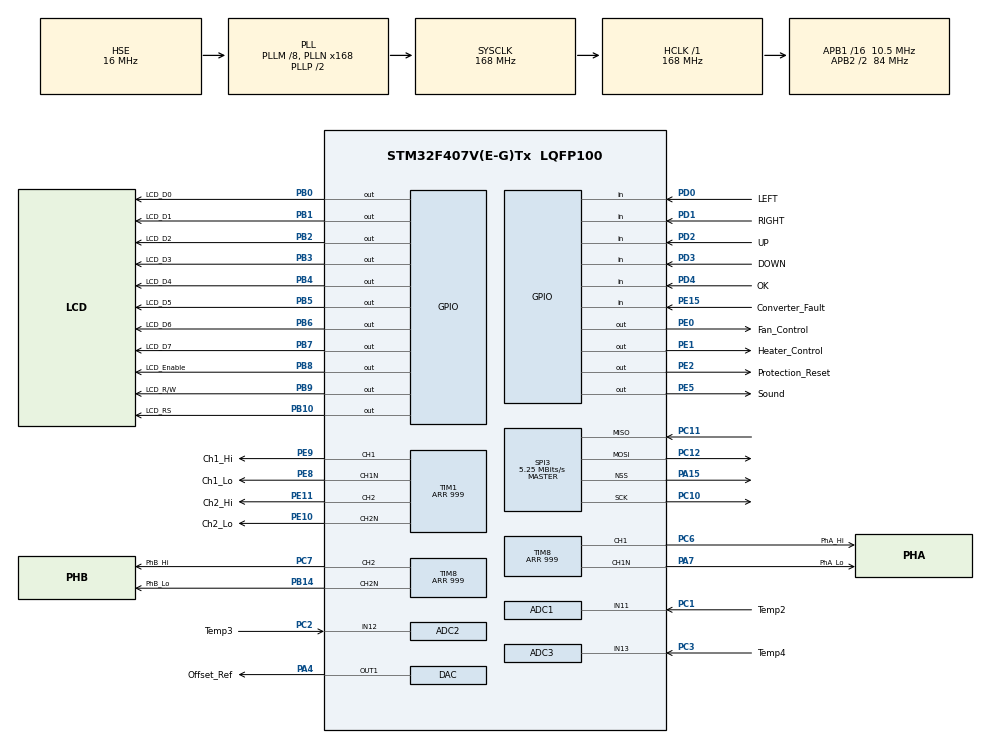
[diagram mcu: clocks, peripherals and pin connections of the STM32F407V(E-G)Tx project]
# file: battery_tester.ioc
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ADC1.Channel-0\#ChannelRegularConversion=ADC_CHANNEL_11
ADC1.ClockPrescaler=ADC_CLOCK_SYNC_PCLK_DIV4
ADC1.ContinuousConvMode=DISABLE
ADC1.DMAContinuousRequests=DISABLE
ADC1.EOCSelection=ADC_EOC_SINGLE_CONV
ADC1.ExternalTrigConv=ADC_EXTERNALTRIGCONV_T2_TRGO
ADC1.Mode=__NULL
ADC1.NbrOfConversion=1
ADC1.NbrOfConversionFlag=1
ADC1.Rank-0\#ChannelRegularConversion=1
ADC1.SamplingTime-0\#ChannelRegularConversion=ADC_SAMPLETIME_28CYCLES
ADC1.ScanConvMode=DISABLE
ADC1.master=1
ADC2.Channel-1\#ChannelRegularConversion=ADC_CHANNEL_12
ADC2.ClockPrescaler=ADC_CLOCK_SYNC_PCLK_DIV4
ADC2.ContinuousConvMode=DISABLE
ADC2.EOCSelection=ADC_EOC_SINGLE_CONV
ADC2.NbrOfConversion=1
ADC2.NbrOfConversionFlag=1
ADC2.Rank-1\#ChannelRegularConversion=1
ADC2.SamplingTime-1\#ChannelRegularConversion=ADC_SAMPLETIME_28CYCLES
ADC2.ScanConvMode=DISABLE
ADC3.Channel-0\#ChannelRegularConversion=ADC_CHANNEL_13
ADC3.ClockPrescaler=ADC_CLOCK_SYNC_PCLK_DIV4
ADC3.ContinuousConvMode=DISABLE
ADC3.EOCSelection=ADC_EOC_SEQ_CONV
ADC3.NbrOfConversion=1
ADC3.NbrOfConversionFlag=1
ADC3.Rank-0\#ChannelRegularConversion=1
ADC3.SamplingTime-0\#ChannelRegularConversion=ADC_SAMPLETIME_28CYCLES
ADC3.ScanConvMode=DISABLE
Dma.Request0=SPI3_RX
Dma.Request1=SPI3_TX
Dma.SPI3_RX.0.Direction=DMA_PERIPH_TO_MEMORY
Dma.SPI3_RX.0.FIFOMode=DMA_FIFOMODE_DISABLE
Dma.SPI3_RX.0.Instance=DMA1_Stream0
Dma.SPI3_RX.0.MemDataAlignment=DMA_MDATAALIGN_BYTE
Dma.SPI3_RX.0.MemInc=DMA_MINC_ENABLE
Dma.SPI3_RX.0.Mode=DMA_NORMAL
Dma.SPI3_RX.0.PeriphDataAlignment=DMA_PDATAALIGN_BYTE
Dma.SPI3_RX.0.PeriphInc=DMA_PINC_DISABLE
Dma.SPI3_RX.0.Priority=DMA_PRIORITY_LOW
Dma.SPI3_TX.1.Direction=DMA_MEMORY_TO_PERIPH
Dma.SPI3_TX.1.FIFOMode=DMA_FIFOMODE_DISABLE
Dma.SPI3_TX.1.Instance=DMA1_Stream5
Dma.SPI3_TX.1.MemDataAlignment=DMA_MDATAALIGN_BYTE
Dma.SPI3_TX.1.MemInc=DMA_MINC_ENABLE
Dma.SPI3_TX.1.Mode=DMA_NORMAL
Dma.SPI3_TX.1.PeriphDataAlignment=DMA_PDATAALIGN_BYTE
Dma.SPI3_TX.1.PeriphInc=DMA_PINC_DISABLE
Dma.SPI3_TX.1.Priority=DMA_PRIORITY_LOW
Mcu.Family=STM32F4
Mcu.Name=STM32F407V(E-G)Tx
Mcu.Package=LQFP100
NVIC.ADC_IRQn=true\:0\:0\:false\:false\:true\:true\:true\:true
NVIC.DMA1_Stream0_IRQn=true\:0\:0\:false\:false\:true\:false\:true\:true
NVIC.DMA1_Stream5_IRQn=true\:0\:0\:false\:false\:true\:false\:true\:true
NVIC.PriorityGroup=NVIC_PRIORITYGROUP_4
NVIC.TIM6_DAC_IRQn=true\:0\:0\:false\:false\:true\:true\:true\:true
PA0-WKUP.Signal=ADCx_IN0
PA1.GPIO_Label=Ch2_Current
PA1.Signal=ADCx_IN1
PA13.GPIO_Label=SWIO
PA13.Mode=Serial_Wire
PA13.Signal=SYS_JTMS-SWDIO
PA14.GPIO_Label=SWCLK
PA14.Mode=Serial_Wire
PA14.Signal=SYS_JTCK-SWCLK
PA15.Mode=NSS_Signal_Hard_Output
PA15.Signal=SPI3_NSS
PA2.GPIO_Label=Ch1_Voltage
PA2.Signal=ADCx_IN2
PA3.GPIO_Label=Ch2_Voltage
PA3.Signal=ADCx_IN3
PA4.GPIO_Label=Offset_Ref
PA4.Signal=COMP_DAC1_group
PA7.GPIO_Label=PhA_Lo
PA7.Mode=PWM Generation1 CH1 CH1N
PA7.Signal=TIM8_CH1N
PB0.GPIO_Label=LCD_D0
PB0.GPIO_PuPd=GPIO_PULLDOWN
PB0.Signal=GPIO_Output
PB1.GPIO_Label=LCD_D1
PB1.GPIO_PuPd=GPIO_PULLDOWN
PB1.Signal=GPIO_Output
PB10.GPIO_Label=LCD_RS
PB10.GPIO_PuPd=GPIO_PULLDOWN
PB10.Signal=GPIO_Output
PB14.GPIO_Label=PhB_Lo
PB14.Mode=PWM Generation2 CH2 CH2N
PB14.Signal=TIM8_CH2N
PB2.GPIO_Label=LCD_D2
PB2.GPIO_PuPd=GPIO_PULLDOWN
PB2.Signal=GPIO_Output
PB3.GPIO_Label=LCD_D3
PB3.GPIO_PuPd=GPIO_PULLDOWN
PB3.Signal=GPIO_Output
PB4.GPIO_Label=LCD_D4
PB4.GPIO_PuPd=GPIO_PULLDOWN
PB4.Signal=GPIO_Output
PB5.GPIO_Label=LCD_D5
PB5.GPIO_PuPd=GPIO_PULLDOWN
PB5.Signal=GPIO_Output
PB6.GPIO_Label=LCD_D6
PB6.GPIO_PuPd=GPIO_PULLDOWN
PB6.Signal=GPIO_Output
PB7.GPIO_Label=LCD_D7
PB7.GPIO_PuPd=GPIO_PULLDOWN
PB7.Signal=GPIO_Output
PB8.GPIO_Label=LCD_Enable
PB8.GPIO_PuPd=GPIO_PULLDOWN
PB8.Signal=GPIO_Output
PB9.GPIO_Label=LCD_R/W
PB9.GPIO_PuPd=GPIO_PULLDOWN
PB9.Signal=GPIO_Output
PC0.GPIO_Label=Temp1
PC0.Signal=ADCx_IN10
PC1.GPIO_Label=Temp2
PC1.Signal=ADCx_IN11
PC10.Mode=Full_Duplex_Master
PC10.Signal=SPI3_SCK
PC11.Mode=Full_Duplex_Master
PC11.Signal=SPI3_MISO
PC12.Mode=Full_Duplex_Master
PC12.Signal=SPI3_MOSI
PC2.GPIO_Label=Temp3
PC2.Signal=ADCx_IN12
PC3.GPIO_Label=Temp4
PC3.Signal=ADCx_IN13
PC4.Signal=ADCx_IN14
PC6.GPIO_Label=PhA_Hi
PC6.Signal=S_TIM8_CH1
PC7.GPIO_Label=PhB_Hi
PC7.Signal=S_TIM8_CH2
PD0.GPIO_Label=LEFT
PD0.GPIO_PuPd=GPIO_PULLUP
PD0.Signal=GPIO_Input
PD1.GPIO_Label=RIGHT
PD1.GPIO_PuPd=GPIO_PULLUP
PD1.Signal=GPIO_Input
PD2.GPIO_Label=UP
PD2.GPIO_PuPd=GPIO_PULLUP
PD2.Signal=GPIO_Input
PD3.GPIO_Label=DOWN
PD3.GPIO_PuPd=GPIO_PULLUP
PD3.Signal=GPIO_Input
PD4.GPIO_Label=OK
PD4.GPIO_PuPd=GPIO_PULLUP
PD4.Signal=GPIO_Input
PE0.GPIO_Label=Fan_Control
PE0.GPIO_PuPd=GPIO_PULLDOWN
PE0.Signal=GPIO_Output
PE1.GPIO_Label=Heater_Control
PE1.GPIO_PuPd=GPIO_PULLDOWN
PE1.Signal=GPIO_Output
PE10.GPIO_Label=Ch2_Lo
PE10.Mode=PWM Generation2 CH2 CH2N
PE10.Signal=TIM1_CH2N
PE11.GPIO_Label=Ch2_Hi
PE11.Signal=S_TIM1_CH2
PE15.GPIO_Label=Converter_Fault
PE15.GPIO_PuPd=GPIO_PULLDOWN
PE15.Signal=GPIO_Input
PE2.GPIO_Label=Protection_Reset
PE2.Signal=GPIO_Output
PE5.GPIO_Label=Sound
PE5.GPIO_PuPd=GPIO_PULLDOWN
PE5.Signal=GPIO_Output
PE8.GPIO_Label=Ch1_Lo
PE8.Mode=PWM Generation1 CH1 CH1N
PE8.Signal=TIM1_CH1N
PE9.GPIO_Label=Ch1_Hi
PE9.Signal=S_TIM1_CH1
PH0-OSC_IN.Mode=HSE-External-Oscillator
PH0-OSC_IN.Signal=RCC_OSC_IN
PH1-OSC_OUT.Mode=HSE-External-Oscillator
PH1-OSC_OUT.Signal=RCC_OSC_OUT
ProjectManager.HeapSize=0x200
ProjectManager.StackSize=0x400
ProjectManager.TargetToolchain=STM32CubeIDE
RCC.48MHZClocksFreq_Value=84000000
RCC.AHBFreq_Value=168000000
RCC.APB1CLKDivider=RCC_HCLK_DIV16
RCC.APB1Freq_Value=10500000
RCC.APB1TimFreq_Value=21000000
RCC.APB2CLKDivider=RCC_HCLK_DIV2
RCC.APB2Freq_Value=84000000
RCC.APB2TimFreq_Value=168000000
RCC.CortexFreq_Value=168000000
RCC.HCLKFreq_Value=168000000
RCC.HSE_VALUE=16000000
RCC.HSI_VALUE=16000000
RCC.LSE_VALUE=32768
RCC.PLLM=8
RCC.PLLN=168
RCC.PLLSourceVirtual=RCC_PLLSOURCE_HSE
RCC.SYSCLKFreq_VALUE=168000000
RCC.SYSCLKSource=RCC_SYSCLKSOURCE_PLLCLK
RCC.VCOOutputFreq_Value=336000000
SH.ADCx_IN0.0=ADC1_IN0
SH.ADCx_IN1.0=ADC2_IN1
SH.ADCx_IN10.0=ADC3_IN10
SH.ADCx_IN11.0=ADC1_IN11,IN11
SH.ADCx_IN12.0=ADC2_IN12,IN12
SH.ADCx_IN13.0=ADC3_IN13,IN13
SH.ADCx_IN14.0=ADC2_IN14
SH.ADCx_IN2.0=ADC3_IN2
SH.ADCx_IN3.0=ADC1_IN3
SH.COMP_DAC1_group.0=DAC_OUT1,DAC_OUT1
SH.S_TIM1_CH1.0=TIM1_CH1,PWM Generation1 CH1 CH1N
SH.S_TIM1_CH2.0=TIM1_CH2,PWM Generation2 CH2 CH2N
SH.S_TIM8_CH1.0=TIM8_CH1,PWM Generation1 CH1 CH1N
SH.S_TIM8_CH2.0=TIM8_CH2,PWM Generation2 CH2 CH2N
SPI3.BaudRatePrescaler=SPI_BAUDRATEPRESCALER_2
SPI3.CalculateBaudRate=5.25 MBits/s
SPI3.Direction=SPI_DIRECTION_2LINES
SPI3.Mode=SPI_MODE_MASTER
SPI3.VirtualNSS=VM_NSSHARD
SPI3.VirtualType=VM_MASTER
TIM1.Channel-PWM\ Generation1\ CH1\ CH1N=TIM_CHANNEL_1
TIM1.Channel-PWM\ Generation2\ CH2\ CH2N=TIM_CHANNEL_2
TIM1.DeadTime=50
TIM1.Period=999
TIM2.Period=5249
TIM2.Prescaler=500
TIM2.TIM_MasterOutputTrigger=TIM_TRGO_UPDATE
TIM2.TIM_MasterSlaveMode=TIM_MASTERSLAVEMODE_DISABLE
TIM6.Period=999
TIM6.Prescaler=83
TIM8.Channel-PWM\ Generation1\ CH1\ CH1N=TIM_CHANNEL_1
TIM8.Channel-PWM\ Generation2\ CH2\ CH2N=TIM_CHANNEL_2
TIM8.DeadTime=50
TIM8.Period=999
VP_CRC_VS_CRC.Mode=CRC_Activate
VP_TIM2_VS_ClockSourceINT.Mode=Internal
VP_TIM2_VS_ClockSourceITR.Mode=TriggerSource_ITR0
VP_TIM6_VS_ClockSourceINT.Mode=Enable_Timer
board=custom

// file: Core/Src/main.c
/* USER CODE BEGIN Header */
/**
  ******************************************************************************
  * @file           : main.c
  * @brief          : Main program body
  ******************************************************************************
  * @attention
  *
  * Copyright (c) 2024 STMicroelectronics.
  * All rights reserved.
  *
  * This software is licensed under terms that can be found in the LICENSE file
  * in the root directory of this software component.
  * If no LICENSE file comes with this software, it is provided AS-IS.
  *
  ******************************************************************************
  */
/* USER CODE END Header */
#include "main.h"

/* USER CODE BEGIN Includes */
#include "lcd_wc1602a.h"
#include "keypad.h"
#include "state_events.h"
#include "cells_voltcontrol.h"
#include "climat_regulator.h"
#include "dessipator_control.h"
#include "regulator_cell_one.h"
#include "regulator_cell_two.h"
#include "conversion_data.h"
#include "cells_voltcontrol.h"
#include "converter_fault.h"
#include "flash_operation.h"
#include "auxiliary_function.h"
/* USER CODE END Includes */

ADC_HandleTypeDef hadc1;
ADC_HandleTypeDef hadc2;
ADC_HandleTypeDef hadc3;

CRC_HandleTypeDef hcrc;

DAC_HandleTypeDef hdac;

SPI_HandleTypeDef hspi3;
DMA_HandleTypeDef hdma_spi3_rx;
DMA_HandleTypeDef hdma_spi3_tx;

TIM_HandleTypeDef htim1;
TIM_HandleTypeDef htim2;
TIM_HandleTypeDef htim6;
TIM_HandleTypeDef htim8;

/* USER CODE BEGIN PV */
volatile uint32_t rawAdcData[LENGTH_DATA_ADC * 2];
unsigned int indx = 0;
/* USER CODE END PV */

void SystemClock_Config(void);
static void MX_GPIO_Init(void);
static void MX_DMA_Init(void);
static void MX_ADC1_Init(void);
static void MX_ADC2_Init(void);
static void MX_ADC3_Init(void);
static void MX_TIM2_Init(void);
static void MX_TIM6_Init(void);
static void MX_SPI3_Init(void);
static void MX_CRC_Init(void);
static void MX_DAC_Init(void);
static void MX_TIM1_Init(void);
static void MX_TIM8_Init(void);

/* USER CODE BEGIN 0 */
void BatteryTester_HAL_startAdcDmaCallback(void);
void BatteryTester_HAL_setDacCallback(unsigned int);
void BatteryTester_HAL_stopAdcCallback(void);
void BatteryTester_HAL_startCh1PwmCallback();
void BatteryTester_HAL_stopCh1PwmCallback();
void BatteryTester_HAL_setCh1PwmPulseCallback(unsigned int);
void BatteryTester_HAL_startCh2PwmCallback();
void BatteryTester_HAL_stopCh2PwmCallback();
void BatteryTester_HAL_setCh2PwmPulseCallback(unsigned int);
void BatteryTester_HAL_startThermostatCallback();
void BatteryTester_HAL_stopThermostatCallback();
void BatteryTester_HAL_setThermostatPwmPulseCallback(int);
void BatteryTester_HAL_onDessipatorHardwareCallback();
void BatteryTester_HAL_offDessipatorHardwareCallback();
eBool_t BatteryTester_HAL_isStartCh1PwmCallback();
eBool_t BatteryTester_HAL_isStartCh2PwmCallback();
eBool_t BatteryTester_HAL_isConverterFaultCallback();
void BatteryTester_HAL_resetConverterFaultCallback();
void BatteryTester_HAL_onSoundHardwareCallback();
void BatteryTester_HAL_offSoundHardwareCallback();
//uint8_t BatteryTester_HAL_transmitReceiveSpiCallback(uint8_t);
//void BatteryTester_HAL_selectChipCallback(eCSAdapter_t);
void BatteryTester_HAL_receiveSpiCallback(uint8_t*, uint16_t, uint32_t);
void BatteryTester_HAL_transmitSpiCallback(uint8_t*, uint16_t, uint32_t);
void BatteryTester_HAL_transmitSpiDmaCallback(
		unsigned char*, unsigned char*, unsigned int);
void BatteryTester_HAL_transmitReceiveSpiDmaCallback(
		unsigned char*, unsigned char*, unsigned int);
eBool_t BatteryTester_HAL_isBusySpiCallback(void);
unsigned char BatteryTester_HAL_calculateCrcCallback(
		unsigned char*, unsigned int);
/* USER CODE END 0 */

int main(void)
{

  /* MCU Configuration--------------------------------------------------------*/

  /* Reset of all peripherals, Initializes the Flash interface and the Systick. */
  HAL_Init();

  /* Configure the system clock */
  SystemClock_Config();

  /* Initialize all configured peripherals */
  MX_GPIO_Init();
  MX_DMA_Init();
  MX_ADC1_Init();
  MX_ADC2_Init();
  MX_ADC3_Init();
  MX_TIM2_Init();
  MX_TIM6_Init();
  MX_SPI3_Init();
  MX_CRC_Init();
  MX_DAC_Init();
  MX_TIM1_Init();
  MX_TIM8_Init();
  /* USER CODE BEGIN 2 */
  /*if(HAL_TIM_PWM_Start(&htim14, TIM_CHANNEL_1) != HAL_OK){
 	  Error_Handler();
   }*/
   BatteryTester_WC1602A_init();
   HAL_Delay(1000);
   BatteryTester_WC1602A_offCursor();

   //WRITE_REG(htim14.Instance->CCR1, 79);
   BatteryTester_State_initState();
   if(BatteryTester_EEPROM_initDecorator(
 		  BatteryTester_HAL_transmitSpiDmaCallback,
 		  BatteryTester_HAL_transmitReceiveSpiDmaCallback,
 		  BatteryTester_HAL_isBusySpiCallback,
 		  BatteryTester_HAL_calculateCrcCallback) != HAL_OK){
 	  Error_Handler();
   }
   if(BatteryTester_EEPROM_begin()){
 		BatteryTester_AuxiliaryFunction_initLogger();
 		BatteryTester_RegulatorCellOne_initDecorator(
 			  BatteryTester_HAL_startCh1PwmCallback,
 			  BatteryTester_HAL_stopCh1PwmCallback,
 			  BatteryTester_HAL_setCh1PwmPulseCallback,
 			  BatteryTester_HAL_isStartCh1PwmCallback);
 		BatteryTester_RegulatorCellTwo_initDecorator(
 			  BatteryTester_HAL_startCh2PwmCallback,
 			  BatteryTester_HAL_stopCh2PwmCallback,
 			  BatteryTester_HAL_setCh2PwmPulseCallback,
 			  BatteryTester_HAL_isStartCh2PwmCallback);
 		BatteryTester_ClimatRegulator_initDecorator(
 			  BatteryTester_HAL_startThermostatCallback,
 			  BatteryTester_HAL_stopThermostatCallback,
 			  BatteryTester_HAL_setThermostatPwmPulseCallback);
 		BatteryTester_DessipatorControl_initDecorator(
 			  BatteryTester_HAL_onDessipatorHardwareCallback,
 			  BatteryTester_HAL_offDessipatorHardwareCallback, 0, 0);
 		BatteryTester_CellsVoltcontrol_initDecorator(
 			  BatteryTester_HAL_isStartCh1PwmCallback,
 			  BatteryTester_HAL_isStartCh2PwmCallback);
 		BatteryTester_ConverterFault_initDecorator(
 			  BatteryTester_HAL_isConverterFaultCallback,
 			  BatteryTester_HAL_resetConverterFaultCallback,
 			  BatteryTester_HAL_onSoundHardwareCallback,
 			  BatteryTester_HAL_offSoundHardwareCallback);
 		/*BatteryTester_AT25SF081_initDecorator(
 			  BatteryTester_HAL_transmitReceiveSpiCallback,
 			  BatteryTester_HAL_selectChipCallback,
 			  BatteryTester_HAL_receiveSpiCallback,
 			  BatteryTester_HAL_transmitSpiCallback);*/

 		if(HAL_TIM_Base_Start_IT(&htim6) != HAL_OK){
 		  Error_Handler();
 		 }
 		 if(BatteryTester_ConversionData_initDecorator(
 			BatteryTester_HAL_startAdcDmaCallback,
 			BatteryTester_HAL_setDacCallback,
 			BatteryTester_HAL_stopAdcCallback) != HAL_OK){
 		  Error_Handler();
 	     }

 	     BatteryTester_EEPROM_end();
   }
   else{
 	  Error_Handler();
   }
  /* USER CODE END 2 */

  /* Infinite loop */
  /* USER CODE BEGIN WHILE */
  while (1)
  {
	  BatteryTester_ConversionData_processTemperatureDecimator();
	  BatteryTester_State_processState();
	  BatteryTester_EEPROM_processLogging();
	  HAL_ADC_Start(&hadc1);
	  HAL_ADC_PollForConversion(&hadc1, 100);
	  rawAdcData[0] = HAL_ADC_GetValue(&hadc1);
	  HAL_ADC_Stop(&hadc1);
	  HAL_Delay(500);
	  HAL_ADC_Start(&hadc2);
	  HAL_ADC_PollForConversion(&hadc2, 100);
	  rawAdcData[1] = HAL_ADC_GetValue(&hadc2);
	  HAL_ADC_Stop(&hadc2);
	  HAL_Delay(500);
	  HAL_ADC_Start(&hadc3);
	  HAL_ADC_PollForConversion(&hadc3, 100);
	  rawAdcData[2] = HAL_ADC_GetValue(&hadc3);
	  HAL_ADC_Stop(&hadc3);
	  HAL_Delay(500);

    /* USER CODE END WHILE */

  }
}

void SystemClock_Config(void)
{
  RCC_OscInitTypeDef RCC_OscInitStruct = {0};
  RCC_ClkInitTypeDef RCC_ClkInitStruct = {0};

  /** Configure the main internal regulator output voltage
  */
  __HAL_RCC_PWR_CLK_ENABLE();
  __HAL_PWR_VOLTAGESCALING_CONFIG(PWR_REGULATOR_VOLTAGE_SCALE1);

  /** Initializes the RCC Oscillators according to the specified parameters
  * in the RCC_OscInitTypeDef structure.
  */
  RCC_OscInitStruct.OscillatorType = RCC_OSCILLATORTYPE_HSE;
  RCC_OscInitStruct.HSEState = RCC_HSE_ON;
  RCC_OscInitStruct.PLL.PLLState = RCC_PLL_ON;
  RCC_OscInitStruct.PLL.PLLSource = RCC_PLLSOURCE_HSE;
  RCC_OscInitStruct.PLL.PLLM = 8;
  RCC_OscInitStruct.PLL.PLLN = 168;
  RCC_OscInitStruct.PLL.PLLP = RCC_PLLP_DIV2;
  RCC_OscInitStruct.PLL.PLLQ = 4;
  if (HAL_RCC_OscConfig(&RCC_OscInitStruct) != HAL_OK)
  {
    Error_Handler();
  }

  /** Initializes the CPU, AHB and APB buses clocks
  */
  RCC_ClkInitStruct.ClockType = RCC_CLOCKTYPE_HCLK|RCC_CLOCKTYPE_SYSCLK
                              |RCC_CLOCKTYPE_PCLK1|RCC_CLOCKTYPE_PCLK2;
  RCC_ClkInitStruct.SYSCLKSource = RCC_SYSCLKSOURCE_PLLCLK;
  RCC_ClkInitStruct.AHBCLKDivider = RCC_SYSCLK_DIV1;
  RCC_ClkInitStruct.APB1CLKDivider = RCC_HCLK_DIV16;
  RCC_ClkInitStruct.APB2CLKDivider = RCC_HCLK_DIV2;

  if (HAL_RCC_ClockConfig(&RCC_ClkInitStruct, FLASH_LATENCY_5) != HAL_OK)
  {
    Error_Handler();
  }
}

static void MX_ADC1_Init(void)
{

  ADC_ChannelConfTypeDef sConfig = {0};

  /** Configure the global features of the ADC (Clock, Resolution, Data Alignment and number of conversion)
  */
  hadc1.Instance = ADC1;
  hadc1.Init.ClockPrescaler = ADC_CLOCK_SYNC_PCLK_DIV4;
  hadc1.Init.Resolution = ADC_RESOLUTION_12B;
  hadc1.Init.ScanConvMode = DISABLE;
  hadc1.Init.ContinuousConvMode = DISABLE;
  hadc1.Init.DiscontinuousConvMode = DISABLE;
  hadc1.Init.ExternalTrigConvEdge = ADC_EXTERNALTRIGCONVEDGE_RISING;
  hadc1.Init.ExternalTrigConv = ADC_EXTERNALTRIGCONV_T2_TRGO;
  hadc1.Init.DataAlign = ADC_DATAALIGN_RIGHT;
  hadc1.Init.NbrOfConversion = 1;
  hadc1.Init.DMAContinuousRequests = DISABLE;
  hadc1.Init.EOCSelection = ADC_EOC_SINGLE_CONV;
  if (HAL_ADC_Init(&hadc1) != HAL_OK)
  {
    Error_Handler();
  }

  /** Configure for the selected ADC regular channel its corresponding rank in the sequencer and its sample time.
  */
  sConfig.Channel = ADC_CHANNEL_11;
  sConfig.Rank = 1;
  sConfig.SamplingTime = ADC_SAMPLETIME_28CYCLES;
  if (HAL_ADC_ConfigChannel(&hadc1, &sConfig) != HAL_OK)
  {
    Error_Handler();
  }

}

static void MX_ADC2_Init(void)
{

  ADC_ChannelConfTypeDef sConfig = {0};

  /** Configure the global features of the ADC (Clock, Resolution, Data Alignment and number of conversion)
  */
  hadc2.Instance = ADC2;
  hadc2.Init.ClockPrescaler = ADC_CLOCK_SYNC_PCLK_DIV4;
  hadc2.Init.Resolution = ADC_RESOLUTION_12B;
  hadc2.Init.ScanConvMode = DISABLE;
  hadc2.Init.ContinuousConvMode = DISABLE;
  hadc2.Init.DiscontinuousConvMode = DISABLE;
  hadc2.Init.ExternalTrigConvEdge = ADC_EXTERNALTRIGCONVEDGE_NONE;
  hadc2.Init.ExternalTrigConv = ADC_SOFTWARE_START;
  hadc2.Init.DataAlign = ADC_DATAALIGN_RIGHT;
  hadc2.Init.NbrOfConversion = 1;
  hadc2.Init.DMAContinuousRequests = DISABLE;
  hadc2.Init.EOCSelection = ADC_EOC_SINGLE_CONV;
  if (HAL_ADC_Init(&hadc2) != HAL_OK)
  {
    Error_Handler();
  }

  /** Configure for the selected ADC regular channel its corresponding rank in the sequencer and its sample time.
  */
  sConfig.Channel = ADC_CHANNEL_12;
  sConfig.Rank = 1;
  sConfig.SamplingTime = ADC_SAMPLETIME_28CYCLES;
  if (HAL_ADC_ConfigChannel(&hadc2, &sConfig) != HAL_OK)
  {
    Error_Handler();
  }

}

static void MX_ADC3_Init(void)
{

  ADC_ChannelConfTypeDef sConfig = {0};

  /** Configure the global features of the ADC (Clock, Resolution, Data Alignment and number of conversion)
  */
  hadc3.Instance = ADC3;
  hadc3.Init.ClockPrescaler = ADC_CLOCK_SYNC_PCLK_DIV4;
  hadc3.Init.Resolution = ADC_RESOLUTION_12B;
  hadc3.Init.ScanConvMode = DISABLE;
  hadc3.Init.ContinuousConvMode = DISABLE;
  hadc3.Init.DiscontinuousConvMode = DISABLE;
  hadc3.Init.ExternalTrigConvEdge = ADC_EXTERNALTRIGCONVEDGE_NONE;
  hadc3.Init.ExternalTrigConv = ADC_SOFTWARE_START;
  hadc3.Init.DataAlign = ADC_DATAALIGN_RIGHT;
  hadc3.Init.NbrOfConversion = 1;
  hadc3.Init.DMAContinuousRequests = DISABLE;
  hadc3.Init.EOCSelection = ADC_EOC_SEQ_CONV;
  if (HAL_ADC_Init(&hadc3) != HAL_OK)
  {
    Error_Handler();
  }

  /** Configure for the selected ADC regular channel its corresponding rank in the sequencer and its sample time.
  */
  sConfig.Channel = ADC_CHANNEL_13;
  sConfig.Rank = 1;
  sConfig.SamplingTime = ADC_SAMPLETIME_28CYCLES;
  if (HAL_ADC_ConfigChannel(&hadc3, &sConfig) != HAL_OK)
  {
    Error_Handler();
  }

}

static void MX_CRC_Init(void)
{

  hcrc.Instance = CRC;
  if (HAL_CRC_Init(&hcrc) != HAL_OK)
  {
    Error_Handler();
  }

}

static void MX_DAC_Init(void)
{

  DAC_ChannelConfTypeDef sConfig = {0};

  /** DAC Initialization
  */
  hdac.Instance = DAC;
  if (HAL_DAC_Init(&hdac) != HAL_OK)
  {
    Error_Handler();
  }

  /** DAC channel OUT1 config
  */
  sConfig.DAC_Trigger = DAC_TRIGGER_NONE;
  sConfig.DAC_OutputBuffer = DAC_OUTPUTBUFFER_ENABLE;
  if (HAL_DAC_ConfigChannel(&hdac, &sConfig, DAC_CHANNEL_1) != HAL_OK)
  {
    Error_Handler();
  }

}

static void MX_SPI3_Init(void)
{

  /* SPI3 parameter configuration*/
  hspi3.Instance = SPI3;
  hspi3.Init.Mode = SPI_MODE_MASTER;
  hspi3.Init.Direction = SPI_DIRECTION_2LINES;
  hspi3.Init.DataSize = SPI_DATASIZE_8BIT;
  hspi3.Init.CLKPolarity = SPI_POLARITY_LOW;
  hspi3.Init.CLKPhase = SPI_PHASE_1EDGE;
  hspi3.Init.NSS = SPI_NSS_HARD_OUTPUT;
  hspi3.Init.BaudRatePrescaler = SPI_BAUDRATEPRESCALER_2;
  hspi3.Init.FirstBit = SPI_FIRSTBIT_MSB;
  hspi3.Init.TIMode = SPI_TIMODE_DISABLE;
  hspi3.Init.CRCCalculation = SPI_CRCCALCULATION_DISABLE;
  hspi3.Init.CRCPolynomial = 10;
  if (HAL_SPI_Init(&hspi3) != HAL_OK)
  {
    Error_Handler();
  }

}

static void MX_TIM1_Init(void)
{

  TIM_MasterConfigTypeDef sMasterConfig = {0};
  TIM_OC_InitTypeDef sConfigOC = {0};
  TIM_BreakDeadTimeConfigTypeDef sBreakDeadTimeConfig = {0};

  htim1.Instance = TIM1;
  htim1.Init.Prescaler = 0;
  htim1.Init.CounterMode = TIM_COUNTERMODE_UP;
  htim1.Init.Period = 999;
  htim1.Init.ClockDivision = TIM_CLOCKDIVISION_DIV1;
  htim1.Init.RepetitionCounter = 0;
  htim1.Init.AutoReloadPreload = TIM_AUTORELOAD_PRELOAD_DISABLE;
  if (HAL_TIM_PWM_Init(&htim1) != HAL_OK)
  {
    Error_Handler();
  }
  sMasterConfig.MasterOutputTrigger = TIM_TRGO_RESET;
  sMasterConfig.MasterSlaveMode = TIM_MASTERSLAVEMODE_DISABLE;
  if (HAL_TIMEx_MasterConfigSynchronization(&htim1, &sMasterConfig) != HAL_OK)
  {
    Error_Handler();
  }
  sConfigOC.OCMode = TIM_OCMODE_PWM1;
  sConfigOC.Pulse = 0;
  sConfigOC.OCPolarity = TIM_OCPOLARITY_HIGH;
  sConfigOC.OCNPolarity = TIM_OCNPOLARITY_HIGH;
  sConfigOC.OCFastMode = TIM_OCFAST_DISABLE;
  sConfigOC.OCIdleState = TIM_OCIDLESTATE_RESET;
  sConfigOC.OCNIdleState = TIM_OCNIDLESTATE_RESET;
  if (HAL_TIM_PWM_ConfigChannel(&htim1, &sConfigOC, TIM_CHANNEL_1) != HAL_OK)
  {
    Error_Handler();
  }
  if (HAL_TIM_PWM_ConfigChannel(&htim1, &sConfigOC, TIM_CHANNEL_2) != HAL_OK)
  {
    Error_Handler();
  }
  sBreakDeadTimeConfig.OffStateRunMode = TIM_OSSR_DISABLE;
  sBreakDeadTimeConfig.OffStateIDLEMode = TIM_OSSI_DISABLE;
  sBreakDeadTimeConfig.LockLevel = TIM_LOCKLEVEL_OFF;
  sBreakDeadTimeConfig.DeadTime = 50;
  sBreakDeadTimeConfig.BreakState = TIM_BREAK_DISABLE;
  sBreakDeadTimeConfig.BreakPolarity = TIM_BREAKPOLARITY_HIGH;
  sBreakDeadTimeConfig.AutomaticOutput = TIM_AUTOMATICOUTPUT_DISABLE;
  if (HAL_TIMEx_ConfigBreakDeadTime(&htim1, &sBreakDeadTimeConfig) != HAL_OK)
  {
    Error_Handler();
  }
  HAL_TIM_MspPostInit(&htim1);

}

static void MX_TIM2_Init(void)
{

  TIM_ClockConfigTypeDef sClockSourceConfig = {0};
  TIM_SlaveConfigTypeDef sSlaveConfig = {0};
  TIM_MasterConfigTypeDef sMasterConfig = {0};

  htim2.Instance = TIM2;
  htim2.Init.Prescaler = 500;
  htim2.Init.CounterMode = TIM_COUNTERMODE_UP;
  htim2.Init.Period = 5249;
  htim2.Init.ClockDivision = TIM_CLOCKDIVISION_DIV1;
  htim2.Init.AutoReloadPreload = TIM_AUTORELOAD_PRELOAD_DISABLE;
  if (HAL_TIM_Base_Init(&htim2) != HAL_OK)
  {
    Error_Handler();
  }
  sClockSourceConfig.ClockSource = TIM_CLOCKSOURCE_INTERNAL;
  if (HAL_TIM_ConfigClockSource(&htim2, &sClockSourceConfig) != HAL_OK)
  {
    Error_Handler();
  }
  sSlaveConfig.SlaveMode = TIM_SLAVEMODE_DISABLE;
  sSlaveConfig.InputTrigger = TIM_TS_ITR0;
  if (HAL_TIM_SlaveConfigSynchro(&htim2, &sSlaveConfig) != HAL_OK)
  {
    Error_Handler();
  }
  sMasterConfig.MasterOutputTrigger = TIM_TRGO_UPDATE;
  sMasterConfig.MasterSlaveMode = TIM_MASTERSLAVEMODE_DISABLE;
  if (HAL_TIMEx_MasterConfigSynchronization(&htim2, &sMasterConfig) != HAL_OK)
  {
    Error_Handler();
  }

}

static void MX_TIM6_Init(void)
{

  TIM_MasterConfigTypeDef sMasterConfig = {0};

  htim6.Instance = TIM6;
  htim6.Init.Prescaler = 83;
  htim6.Init.CounterMode = TIM_COUNTERMODE_UP;
  htim6.Init.Period = 999;
  htim6.Init.AutoReloadPreload = TIM_AUTORELOAD_PRELOAD_DISABLE;
  if (HAL_TIM_Base_Init(&htim6) != HAL_OK)
  {
    Error_Handler();
  }
  sMasterConfig.MasterOutputTrigger = TIM_TRGO_RESET;
  sMasterConfig.MasterSlaveMode = TIM_MASTERSLAVEMODE_DISABLE;
  if (HAL_TIMEx_MasterConfigSynchronization(&htim6, &sMasterConfig) != HAL_OK)
  {
    Error_Handler();
  }

}

static void MX_TIM8_Init(void)
{

  TIM_MasterConfigTypeDef sMasterConfig = {0};
  TIM_OC_InitTypeDef sConfigOC = {0};
  TIM_BreakDeadTimeConfigTypeDef sBreakDeadTimeConfig = {0};

  htim8.Instance = TIM8;
  htim8.Init.Prescaler = 0;
  htim8.Init.CounterMode = TIM_COUNTERMODE_UP;
  htim8.Init.Period = 999;
  htim8.Init.ClockDivision = TIM_CLOCKDIVISION_DIV1;
  htim8.Init.RepetitionCounter = 0;
  htim8.Init.AutoReloadPreload = TIM_AUTORELOAD_PRELOAD_DISABLE;
  if (HAL_TIM_PWM_Init(&htim8) != HAL_OK)
  {
    Error_Handler();
  }
  sMasterConfig.MasterOutputTrigger = TIM_TRGO_RESET;
  sMasterConfig.MasterSlaveMode = TIM_MASTERSLAVEMODE_DISABLE;
  if (HAL_TIMEx_MasterConfigSynchronization(&htim8, &sMasterConfig) != HAL_OK)
  {
    Error_Handler();
  }
  sConfigOC.OCMode = TIM_OCMODE_PWM1;
  sConfigOC.Pulse = 0;
  sConfigOC.OCPolarity = TIM_OCPOLARITY_HIGH;
  sConfigOC.OCNPolarity = TIM_OCNPOLARITY_HIGH;
  sConfigOC.OCFastMode = TIM_OCFAST_DISABLE;
  sConfigOC.OCIdleState = TIM_OCIDLESTATE_RESET;
  sConfigOC.OCNIdleState = TIM_OCNIDLESTATE_RESET;
  if (HAL_TIM_PWM_ConfigChannel(&htim8, &sConfigOC, TIM_CHANNEL_1) != HAL_OK)
  {
    Error_Handler();
  }
  if (HAL_TIM_PWM_ConfigChannel(&htim8, &sConfigOC, TIM_CHANNEL_2) != HAL_OK)
  {
    Error_Handler();
  }
  sBreakDeadTimeConfig.OffStateRunMode = TIM_OSSR_DISABLE;
  sBreakDeadTimeConfig.OffStateIDLEMode = TIM_OSSI_DISABLE;
  sBreakDeadTimeConfig.LockLevel = TIM_LOCKLEVEL_OFF;
  sBreakDeadTimeConfig.DeadTime = 50;
  sBreakDeadTimeConfig.BreakState = TIM_BREAK_DISABLE;
  sBreakDeadTimeConfig.BreakPolarity = TIM_BREAKPOLARITY_HIGH;
  sBreakDeadTimeConfig.AutomaticOutput = TIM_AUTOMATICOUTPUT_DISABLE;
  if (HAL_TIMEx_ConfigBreakDeadTime(&htim8, &sBreakDeadTimeConfig) != HAL_OK)
  {
    Error_Handler();
  }
  HAL_TIM_MspPostInit(&htim8);

}

static void MX_DMA_Init(void)
{

  /* DMA controller clock enable */
  __HAL_RCC_DMA1_CLK_ENABLE();

  /* DMA interrupt init */
  /* DMA1_Stream0_IRQn interrupt configuration */
  HAL_NVIC_SetPriority(DMA1_Stream0_IRQn, 0, 0);
  HAL_NVIC_EnableIRQ(DMA1_Stream0_IRQn);
  /* DMA1_Stream5_IRQn interrupt configuration */
  HAL_NVIC_SetPriority(DMA1_Stream5_IRQn, 0, 0);
  HAL_NVIC_EnableIRQ(DMA1_Stream5_IRQn);

}

static void MX_GPIO_Init(void)
{
  GPIO_InitTypeDef GPIO_InitStruct = {0};

  /* GPIO Ports Clock Enable */
  __HAL_RCC_GPIOE_CLK_ENABLE();
  __HAL_RCC_GPIOH_CLK_ENABLE();
  __HAL_RCC_GPIOC_CLK_ENABLE();
  __HAL_RCC_GPIOA_CLK_ENABLE();
  __HAL_RCC_GPIOB_CLK_ENABLE();
  __HAL_RCC_GPIOD_CLK_ENABLE();

  /*Configure GPIO pin Output Level */
  HAL_GPIO_WritePin(GPIOE, Protection_Reset_Pin|Sound_Pin|Fan_Control_Pin|Heater_Control_Pin, GPIO_PIN_RESET);

  /*Configure GPIO pin Output Level */
  HAL_GPIO_WritePin(GPIOB, LCD_D0_Pin|LCD_D1_Pin|LCD_D2_Pin|LCD_RS_Pin
                          |LCD_D3_Pin|LCD_D4_Pin|LCD_D5_Pin|LCD_D6_Pin
                          |LCD_D7_Pin|LCD_Enable_Pin|LCD_R_W_Pin, GPIO_PIN_RESET);

  /*Configure GPIO pin : Protection_Reset_Pin */
  GPIO_InitStruct.Pin = Protection_Reset_Pin;
  GPIO_InitStruct.Mode = GPIO_MODE_OUTPUT_PP;
  GPIO_InitStruct.Pull = GPIO_NOPULL;
  GPIO_InitStruct.Speed = GPIO_SPEED_FREQ_LOW;
  HAL_GPIO_Init(Protection_Reset_GPIO_Port, &GPIO_InitStruct);

  /*Configure GPIO pins : Sound_Pin Fan_Control_Pin Heater_Control_Pin */
  GPIO_InitStruct.Pin = Sound_Pin|Fan_Control_Pin|Heater_Control_Pin;
  GPIO_InitStruct.Mode = GPIO_MODE_OUTPUT_PP;
  GPIO_InitStruct.Pull = GPIO_PULLDOWN;
  GPIO_InitStruct.Speed = GPIO_SPEED_FREQ_LOW;
  HAL_GPIO_Init(GPIOE, &GPIO_InitStruct);

  /*Configure GPIO pins : LCD_D0_Pin LCD_D1_Pin LCD_D2_Pin LCD_RS_Pin
                           LCD_D3_Pin LCD_D4_Pin LCD_D5_Pin LCD_D6_Pin
                           LCD_D7_Pin LCD_Enable_Pin LCD_R_W_Pin */
  GPIO_InitStruct.Pin = LCD_D0_Pin|LCD_D1_Pin|LCD_D2_Pin|LCD_RS_Pin
                          |LCD_D3_Pin|LCD_D4_Pin|LCD_D5_Pin|LCD_D6_Pin
                          |LCD_D7_Pin|LCD_Enable_Pin|LCD_R_W_Pin;
  GPIO_InitStruct.Mode = GPIO_MODE_OUTPUT_PP;
  GPIO_InitStruct.Pull = GPIO_PULLDOWN;
  GPIO_InitStruct.Speed = GPIO_SPEED_FREQ_LOW;
  HAL_GPIO_Init(GPIOB, &GPIO_InitStruct);

  /*Configure GPIO pin : Converter_Fault_Pin */
  GPIO_InitStruct.Pin = Converter_Fault_Pin;
  GPIO_InitStruct.Mode = GPIO_MODE_INPUT;
  GPIO_InitStruct.Pull = GPIO_PULLDOWN;
  HAL_GPIO_Init(Converter_Fault_GPIO_Port, &GPIO_InitStruct);

  /*Configure GPIO pins : LEFT_Pin RIGHT_Pin UP_Pin DOWN_Pin
                           OK_Pin */
  GPIO_InitStruct.Pin = LEFT_Pin|RIGHT_Pin|UP_Pin|DOWN_Pin
                          |OK_Pin;
  GPIO_InitStruct.Mode = GPIO_MODE_INPUT;
  GPIO_InitStruct.Pull = GPIO_PULLUP;
  HAL_GPIO_Init(GPIOD, &GPIO_InitStruct);

}

/* USER CODE BEGIN 4 */
void  BatteryTester_HAL_startAdcDmaCallback(void){
	/*if(HAL_TIM_Base_Start(&htim2) != HAL_OK){
		Error_Handler();
	}
	if(HAL_ADC_Start(&hadc2) != HAL_OK){
		Error_Handler();
	}
	if(HAL_ADC_Start(&hadc3) != HAL_OK){
		Error_Handler();
	}
	if(HAL_ADCEx_MultiModeStart_DMA(&hadc1, (uint32_t*) rawAdcData, LENGTH_DATA_ADC * 2) != HAL_OK){
		Error_Handler();
	}*/
}

void BatteryTester_HAL_setDacCallback(unsigned int code){
  	/*if(HAL_DAC_Start(&hdac, DAC_CHANNEL_1) != HAL_OK){
		Error_Handler();
	}
	WRITE_REG(hdac.Instance->DHR12R1, code);*/
}

void BatteryTester_HAL_stopAdcCallback(void){
	if(HAL_ADC_Stop(&hadc1) != HAL_OK){
			Error_Handler();
		}
	/*if(HAL_ADCEx_MultiModeStop_DMA(&hadc1) != HAL_OK){
		Error_Handler();
	}
	if(HAL_ADC_Stop(&hadc2) != HAL_OK){
		Error_Handler();
	}
	if(HAL_ADC_Stop(&hadc3) != HAL_OK){
		Error_Handler();
	}
	if(HAL_TIM_Base_Stop(&htim2) != HAL_OK){
		Error_Handler();
	}*/
}

void BatteryTester_HAL_startCh1PwmCallback(){
	if (TIM_CHANNEL_STATE_GET(&htim1, TIM_CHANNEL_1) == HAL_TIM_CHANNEL_STATE_READY){
		if(HAL_TIM_PWM_Start(&htim1, TIM_CHANNEL_1) != HAL_OK){
			Error_Handler();
		}
	}
	if(TIM_CHANNEL_N_STATE_GET(&htim1, TIM_CHANNEL_1) == HAL_TIM_CHANNEL_STATE_READY){
		if(HAL_TIMEx_PWMN_Start(&htim1, TIM_CHANNEL_1) != HAL_OK){
			Error_Handler();
		}
	}
}

void BatteryTester_HAL_stopCh1PwmCallback(){
	if (TIM_CHANNEL_STATE_GET(&htim1, TIM_CHANNEL_1) == HAL_TIM_CHANNEL_STATE_BUSY){
		if(HAL_TIM_PWM_Stop(&htim1, TIM_CHANNEL_1) != HAL_OK){
			Error_Handler();
		}
	}
	if(TIM_CHANNEL_N_STATE_GET(&htim1, TIM_CHANNEL_1) == HAL_TIM_CHANNEL_STATE_BUSY){
		if(HAL_TIMEx_PWMN_Stop(&htim1, TIM_CHANNEL_1) != HAL_OK){
			Error_Handler();
		}
	}
}

void BatteryTester_HAL_setCh1PwmPulseCallback(unsigned int pulse){
	WRITE_REG(htim1.Instance->CCR1, pulse);
}

void BatteryTester_HAL_startCh2PwmCallback(){
	if (TIM_CHANNEL_STATE_GET(&htim1, TIM_CHANNEL_2) == HAL_TIM_CHANNEL_STATE_READY){
		if(HAL_TIM_PWM_Start(&htim1, TIM_CHANNEL_2) != HAL_OK){
			Error_Handler();
		}
	}
	if(TIM_CHANNEL_N_STATE_GET(&htim1, TIM_CHANNEL_2) == HAL_TIM_CHANNEL_STATE_READY){
		if(HAL_TIMEx_PWMN_Start(&htim1, TIM_CHANNEL_2) != HAL_OK){
			Error_Handler();
		}
	}
}

void BatteryTester_HAL_stopCh2PwmCallback(){
	if (TIM_CHANNEL_STATE_GET(&htim1, TIM_CHANNEL_2) == HAL_TIM_CHANNEL_STATE_BUSY){
		if(HAL_TIM_PWM_Stop(&htim1, TIM_CHANNEL_2) != HAL_OK){
			Error_Handler();
		}
	}
	if(TIM_CHANNEL_N_STATE_GET(&htim1, TIM_CHANNEL_2) == HAL_TIM_CHANNEL_STATE_BUSY){
		if(HAL_TIMEx_PWMN_Stop(&htim1, TIM_CHANNEL_2) != HAL_OK){
			Error_Handler();
		}
	}
}

void BatteryTester_HAL_setCh2PwmPulseCallback(unsigned int pulse){
	WRITE_REG(htim1.Instance->CCR2, pulse);
}

void BatteryTester_HAL_startThermostatCallback(){
	if(TIM_CHANNEL_STATE_GET(&htim8, TIM_CHANNEL_1) == HAL_TIM_CHANNEL_STATE_READY){
		if(HAL_TIM_PWM_Start(&htim8, TIM_CHANNEL_1) != HAL_OK){
			Error_Handler();
		}
	}
	if (TIM_CHANNEL_N_STATE_GET(&htim8, TIM_CHANNEL_1) == HAL_TIM_CHANNEL_STATE_READY){
		if(HAL_TIMEx_PWMN_Start(&htim8, TIM_CHANNEL_1) != HAL_OK){
			Error_Handler();
		}
	}
	if(TIM_CHANNEL_STATE_GET(&htim8, TIM_CHANNEL_2) == HAL_TIM_CHANNEL_STATE_READY){
		if(HAL_TIM_PWM_Start(&htim8, TIM_CHANNEL_2) != HAL_OK){
			Error_Handler();
		}
	}
	if (TIM_CHANNEL_N_STATE_GET(&htim8, TIM_CHANNEL_2) == HAL_TIM_CHANNEL_STATE_READY){
		if(HAL_TIMEx_PWMN_Start(&htim8, TIM_CHANNEL_2) != HAL_OK){
			Error_Handler();
		}
	}
}

void BatteryTester_HAL_stopThermostatCallback(){
	if(TIM_CHANNEL_STATE_GET(&htim8, TIM_CHANNEL_1) == HAL_TIM_CHANNEL_STATE_BUSY){
		if(HAL_TIM_PWM_Stop(&htim8, TIM_CHANNEL_1) != HAL_OK){
			Error_Handler();
		}
	}
	if (TIM_CHANNEL_N_STATE_GET(&htim8, TIM_CHANNEL_1) == HAL_TIM_CHANNEL_STATE_BUSY){
		if(HAL_TIMEx_PWMN_Stop(&htim8, TIM_CHANNEL_1) != HAL_OK){
			Error_Handler();
		}
	}
	if(TIM_CHANNEL_STATE_GET(&htim8, TIM_CHANNEL_2) == HAL_TIM_CHANNEL_STATE_BUSY){
		if(HAL_TIM_PWM_Stop(&htim8, TIM_CHANNEL_2) != HAL_OK){
			Error_Handler();
		}
	}
	if (TIM_CHANNEL_N_STATE_GET(&htim8, TIM_CHANNEL_2) == HAL_TIM_CHANNEL_STATE_BUSY){
		if(HAL_TIMEx_PWMN_Stop(&htim8, TIM_CHANNEL_2) != HAL_OK){
			Error_Handler();
		}
	}
}

void BatteryTester_HAL_setThermostatPwmPulseCallback(int pulse){
	unsigned int pulsePhA = 50 + pulse / 2;
	unsigned int pulsePhB = 50 - pulse / 2;
	WRITE_REG(htim8.Instance->CCR1, pulsePhA);
	WRITE_REG(htim8.Instance->CCR2, pulsePhB);
}

void BatteryTester_HAL_onDessipatorHardwareCallback(){
	HAL_GPIO_WritePin(
				Heater_Control_GPIO_Port,
				Heater_Control_Pin,
				GPIO_PIN_SET);
	HAL_GPIO_WritePin(
				Fan_Control_GPIO_Port,
				Fan_Control_Pin,
				GPIO_PIN_SET);
}

void BatteryTester_HAL_offDessipatorHardwareCallback(){
	HAL_GPIO_WritePin(
				Heater_Control_GPIO_Port,
				Heater_Control_Pin,
				GPIO_PIN_RESET);
	HAL_GPIO_WritePin(
				Fan_Control_GPIO_Port,
				Fan_Control_Pin,
				GPIO_PIN_RESET);
}

eBool_t BatteryTester_HAL_isStartCh1PwmCallback(){
	if (TIM_CHANNEL_STATE_GET(&htim1, TIM_CHANNEL_1) == HAL_TIM_CHANNEL_STATE_BUSY){
		return TRUE;
	}
	return FALSE;
}

eBool_t BatteryTester_HAL_isStartCh2PwmCallback(){
	if(TIM_CHANNEL_STATE_GET(&htim1, TIM_CHANNEL_2) == HAL_TIM_CHANNEL_STATE_BUSY){
		return TRUE;
	}
	return FALSE;
}

eBool_t BatteryTester_HAL_isConverterFaultCallback(){
	if(HAL_GPIO_ReadPin(Converter_Fault_GPIO_Port, Converter_Fault_Pin) == GPIO_PIN_SET){
		return TRUE;
	}
	return FALSE;
}

/*@brief: Hardware reset converter fault signal callback
 * @danger: use blocking wait
 */
void BatteryTester_HAL_resetConverterFaultCallback(){
	HAL_GPIO_WritePin(
			Protection_Reset_GPIO_Port,
			Protection_Reset_Pin,
			GPIO_PIN_SET);
	HAL_Delay(100);
	HAL_GPIO_WritePin(
			Protection_Reset_GPIO_Port,
			Protection_Reset_Pin,
			GPIO_PIN_RESET);
}

void BatteryTester_HAL_onSoundHardwareCallback(){
	HAL_GPIO_WritePin(
			Sound_GPIO_Port,
			Sound_Pin,
			GPIO_PIN_SET);
}

void BatteryTester_HAL_offSoundHardwareCallback(){
	HAL_GPIO_WritePin(
			Sound_GPIO_Port,
			Sound_Pin,
			GPIO_PIN_RESET);
}

/*uint8_t BatteryTester_HAL_transmitReceiveSpiCallback(uint8_t data){
	uint8_t ret;
	if(HAL_SPI_TransmitReceive(&hspi1, &data, &ret, 1, 100) != HAL_OK){
		Error_Handler();
	}
	return ret;
}

void BatteryTester_HAL_selectChipCallback(eCSAdapter_t select){
	HAL_GPIO_WritePin(MEM_NSS_GPIO_Port, MEM_NSS_Pin, select);
}*/

/*@brief  Receive an amount of data in blocking mode.
* @param  hspi pointer to a SPI_HandleTypeDef structure that contains
*               the configuration information for SPI module.
* @param  pData pointer to data buffer
* @param  Size amount of data to be received
* @param  Timeout Timeout duration
* @retval HAL status
*/
void BatteryTester_HAL_receiveSpiCallback(uint8_t* pBuffer, uint16_t size, uint32_t timeout){
	/*if(HAL_SPI_Receive(&hspi1, pBuffer, size, timeout) != HAL_OK){
		Error_Handler();
	}*/
}

/**
	  * @brief  Transmit an amount of data in blocking mode.
	  * @param  hspi pointer to a SPI_HandleTypeDef structure that contains
	  *               the configuration information for SPI module.
	  * @param  pData pointer to data buffer
	  * @param  Size amount of data to be sent
	  * @param  Timeout Timeout duration
	  * @retval HAL status
	  */
void BatteryTester_HAL_transmitSpiCallback(uint8_t* pBuffer, uint16_t size, uint32_t timeout){
	/*if(HAL_SPI_Transmit(&hspi1, pBuffer, size, timeout) != HAL_OK){
		Error_Handler();
	}*/
}

void BatteryTester_HAL_transmitSpiDmaCallback(
		unsigned char* pBufferTx, unsigned char* notUsed, unsigned int sizeOfBytes){
	if(HAL_SPI_Transmit_DMA(&hspi3, (uint8_t*)pBufferTx, (uint16_t)sizeOfBytes) != HAL_OK){
		Error_Handler();
	}
}

void BatteryTester_HAL_transmitReceiveSpiDmaCallback(
		unsigned char* pBufferTx, unsigned char* pBufferRx, unsigned int sizeOfBytes){
	if(HAL_SPI_TransmitReceive_DMA(&hspi3, (uint8_t*)pBufferTx, (uint8_t*)pBufferRx,
					  (uint16_t)sizeOfBytes) != HAL_OK){
		Error_Handler();
	}
}

eBool_t BatteryTester_HAL_isBusySpiCallback(void){
	if (hspi3.State != HAL_SPI_STATE_READY)
	{
		return TRUE;
	}
	return FALSE;
}

unsigned char BatteryTester_HAL_calculateCrcCallback(
		unsigned char* pData, unsigned int sizeOfBytes){
	return (unsigned char)HAL_CRC_Calculate(&hcrc, (uint32_t*)pData, (uint32_t)sizeOfBytes);
}
/* USER CODE END 4 */

void Error_Handler(void)
{
  __disable_irq();
  while (1)
  {
  }
}
